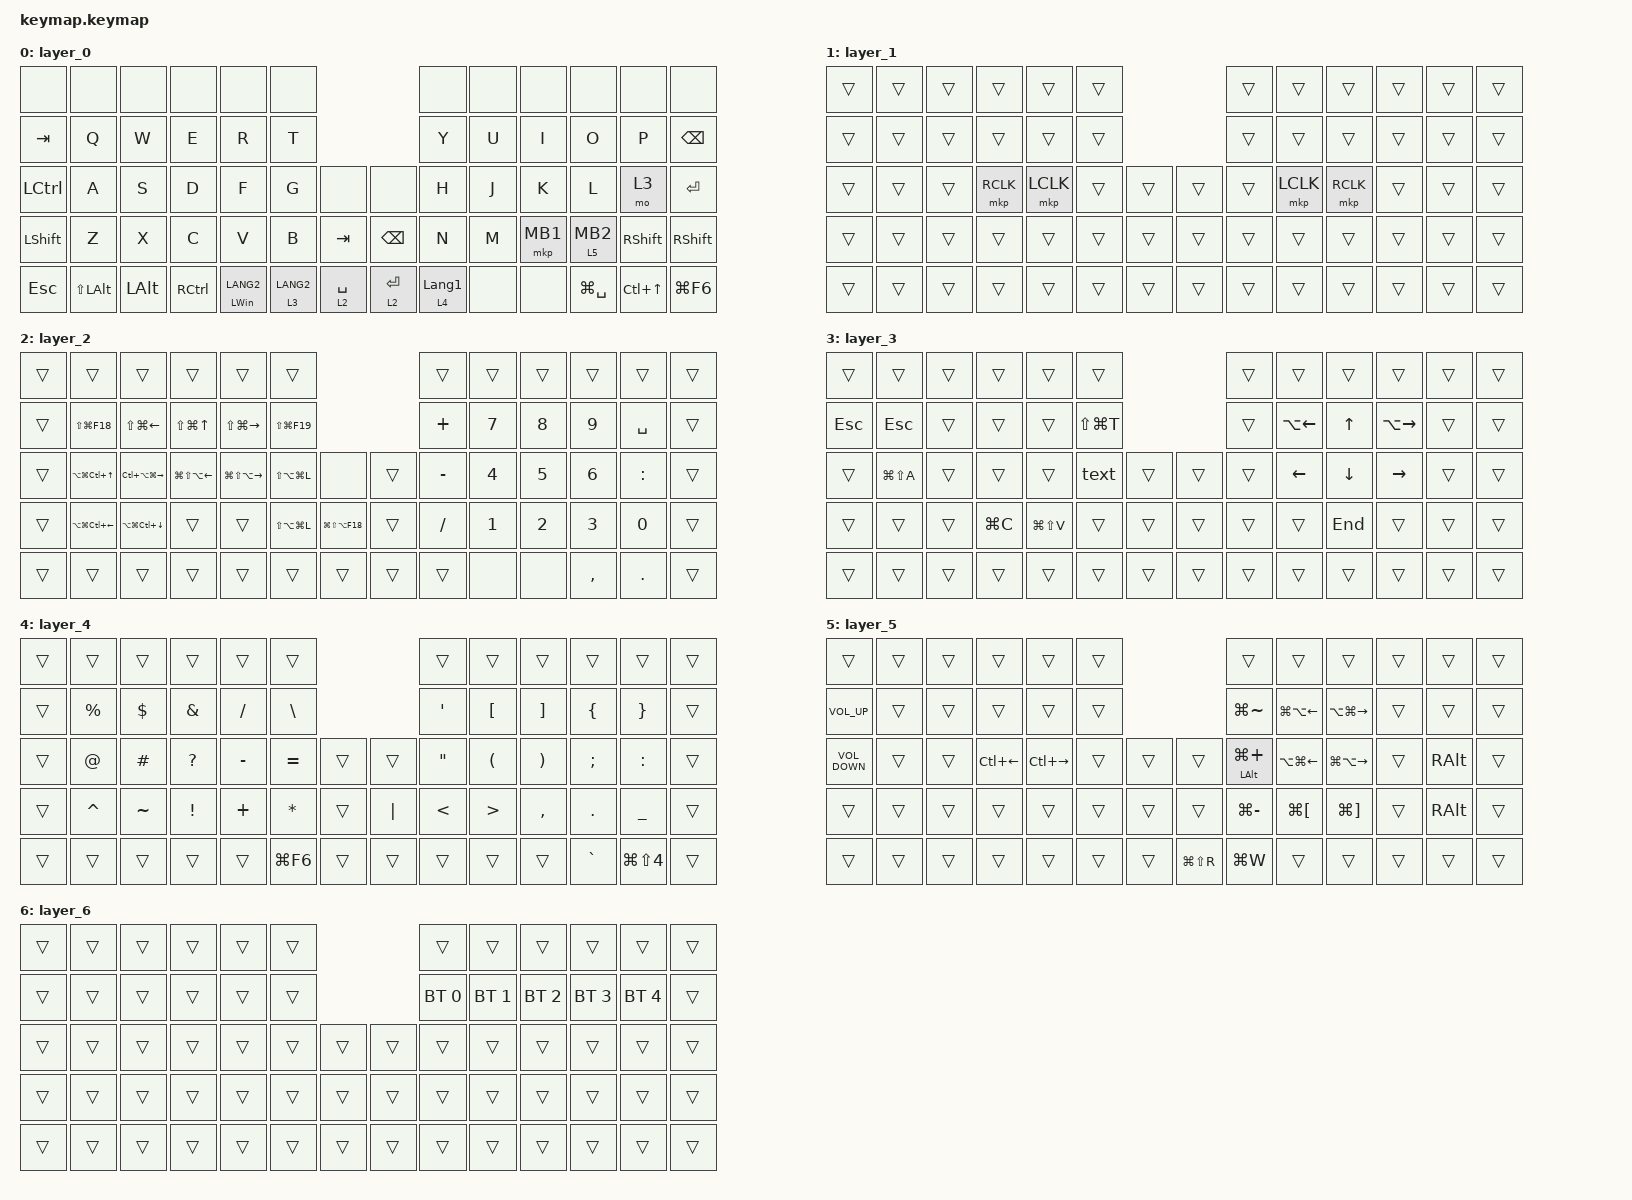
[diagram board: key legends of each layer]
#include <input/processors.dtsi>
#include <behaviors.dtsi>
#include <dt-bindings/zmk/bt.h>
#include <dt-bindings/zmk/keys.h>
#include <dt-bindings/zmk/pointing.h>

&mt {
    flavor = "tap-preferred";
    tapping-term-ms = <150>;
    quick-tap-ms = <150>;
    hold-while-undecided;
};

&lt {
    tapping-term-ms = <150>;
    quick-tap-ms = <150>;
    flavor = "tap-preferred";
    hold-while-undecided;
};

&pointing_listener {
    /* 通常時はカーソル移動のまま（必要なら速度調整も可） */
    /* input-processors = <&zip_xy_scaler 3 2>; */

    scroller {
        /* ↓ ここを「スクロールレイヤー番号」に合わせる */

        layers = <5>;
        input-processors = <
            &zip_xy_to_scroll_mapper
            &zip_scroll_transform INPUT_TRANSFORM_X_INVERT
            &zip_xy_scaler 1 512
            /* スクロール速度を上げたいなら倍率を足す例（任意） */
            &zip_scroll_scaler 1 32
        >;
    };
};

/ {
    combos {
        compatible = "zmk,combos";

        bt_clear {
            bindings = <&bt BT_CLR>;
            key-positions = <28 29>;
            layers = <2>;
        };

        layer6 {
            bindings = <&mo 6>;
            key-positions = <53 52>;
        };
    };

    behaviors {
        language_mod_tap: language_mod_tap {
            compatible = "zmk,behavior-hold-tap";
            #binding-cells = <2>;
            bindings = <&kp>, <&kp>;
            flavor = "tap-preferred";
            tapping-term-ms = <150>;
            quick-tap-ms = <150>;
            hold-while-undecided;
            retro-tap;
        };

        language_layer_tap: language_layer_tap {
            compatible = "zmk,behavior-hold-tap";
            #binding-cells = <2>;
            bindings = <&mo>, <&kp>;
            flavor = "tap-preferred";
            tapping-term-ms = <150>;
            quick-tap-ms = <150>;
            hold-while-undecided;
            retro-tap;
        };

        mouce_and_layer: mouce_and_layer {
            compatible = "zmk,behavior-hold-tap";
            label = "MOUCE_AND_LAYER";
            bindings = <&mo>, <&mkp>;

            #binding-cells = <2>;
            tapping-term-ms = <200>;
        };
    };

    macros {
        text: text {
            compatible = "zmk,behavior-macro";
            #binding-cells = <0>;
            bindings = <&kp LS(K) &kp I &kp J &kp U &kp M &kp O &kp N8 &kp N0 &kp UNDER>;
            label = "TEXT";
        };
    };

    keymap {
        compatible = "zmk,keymap";

        layer_0 {
            bindings = <
&none             &none             &none         &none              &none               &none                                    &none             &none  &none     &none                   &none             &none
&kp TAB           &kp Q             &kp W         &kp E              &kp R               &kp T                                    &kp Y             &kp U  &kp I     &kp O                   &kp P             &kp BSPC
&kp LEFT_CONTROL  &kp A             &kp S         &kp D              &kp F               &kp G        &none        &none          &kp H             &kp J  &kp K     &kp L                   &mo 3             &kp ENTER
&kp LSHFT         &kp Z             &kp X         &kp C              &kp V               &kp B        &kp TAB      &kp BACKSPACE  &kp N             &kp M  &mkp MB1  &mouce_and_layer 5 MB2  &kp RIGHT_SHIFT   &kp RSHFT
&kp ESC           &kp LS(LEFT_ALT)  &kp LEFT_ALT  &kp RIGHT_CONTROL  &language_mod_tap LEFT_WIN LANG2  &language_layer_tap 3 LANG2  &lt 2 SPACE  &lt 2 ENTER  &language_layer_tap 4 LANGUAGE_1  &none  &none  &kp LG(SPACE)  &kp LC(UP_ARROW)  &kp LG(F6)
            >;
        };

        layer_1 {
            bindings = <
&trans  &trans  &trans  &trans     &trans     &trans                  &trans  &trans     &trans     &trans  &trans  &trans
&trans  &trans  &trans  &trans     &trans     &trans                  &trans  &trans     &trans     &trans  &trans  &trans
&trans  &trans  &trans  &mkp RCLK  &mkp LCLK  &trans  &trans  &trans  &trans  &mkp LCLK  &mkp RCLK  &trans  &trans  &trans
&trans  &trans  &trans  &trans     &trans     &trans  &trans  &trans  &trans  &trans     &trans     &trans  &trans  &trans
&trans  &trans  &trans  &trans     &trans     &trans  &trans  &trans  &trans  &trans     &trans     &trans  &trans  &trans
            >;
        };

        layer_2 {
            bindings = <
&trans  &trans                    &trans                      &trans                &trans                 &trans                                          &trans     &trans        &trans        &trans        &trans      &trans
&trans  &kp LS(LG(F18))           &kp LS(LG(LEFT))            &kp LS(LG(UP_ARROW))  &kp LS(LG(RIGHT))      &kp LS(LG(F19))                                 &kp PLUS   &kp N7        &kp N8        &kp N9        &kp SPACE   &trans
&trans  &kp LA(LG(LC(UP_ARROW)))  &kp LC(LA(LG(RIGHT)))       &kp LG(LS(LA(LEFT)))  &kp LG(LS(LA(RIGHT)))  &kp LS(LA(LG(L)))  &none                &trans  &kp MINUS  &kp NUMBER_4  &kp N5        &kp NUMBER_6  &kp COLON   &trans
&trans  &kp LA(LG(LC(LEFT)))      &kp LA(LG(LC(DOWN_ARROW)))  &trans                &trans                 &kp LS(LA(LG(L)))  &kp LG(LS(LA(F18)))  &trans  &kp SLASH  &kp NUMBER_1  &kp NUMBER_2  &kp NUMBER_3  &kp N0      &trans
&trans  &trans                    &trans                      &trans                &trans                 &trans             &trans               &trans  &trans     &none         &none         &kp COMMA     &kp PERIOD  &trans
            >;
        };

        layer_3 {
            bindings = <
&trans   &trans         &trans  &trans     &trans         &trans                         &trans  &trans          &trans          &trans         &trans  &trans
&kp ESC  &kp ESCAPE     &trans  &trans     &trans         &kp LS(LG(T))                  &trans  &kp LA(LEFT)    &kp UP_ARROW    &kp LA(RIGHT)  &trans  &trans
&trans   &kp LG(LS(A))  &trans  &trans     &trans         &text          &trans  &trans  &trans  &kp LEFT_ARROW  &kp DOWN_ARROW  &kp RIGHT      &trans  &trans
&trans   &trans         &trans  &kp LG(C)  &kp LG(LS(V))  &trans         &trans  &trans  &trans  &trans          &kp END         &trans         &trans  &trans
&trans   &trans         &trans  &trans     &trans         &trans         &trans  &trans  &trans  &trans          &trans          &trans         &trans  &trans
            >;
        };

        layer_4 {
            bindings = <
&trans  &trans       &trans      &trans           &trans     &trans                           &trans             &trans                &trans                 &trans          &trans                &trans
&trans  &kp PERCENT  &kp DOLLAR  &kp AMPERSAND    &kp SLASH  &kp BACKSLASH                    &kp SQT            &kp LEFT_BRACKET      &kp RIGHT_BRACKET      &kp LEFT_BRACE  &kp RIGHT_BRACE       &trans
&trans  &kp AT_SIGN  &kp HASH    &kp QUESTION     &kp MINUS  &kp EQUAL      &trans  &trans    &kp DOUBLE_QUOTES  &kp LEFT_PARENTHESIS  &kp RIGHT_PARENTHESIS  &kp SEMICOLON   &kp COLON             &trans
&trans  &kp CARET    &kp TILDE   &kp EXCLAMATION  &kp PLUS   &kp ASTERISK   &trans  &kp PIPE  &kp LESS_THAN      &kp GREATER_THAN      &kp COMMA              &kp PERIOD      &kp UNDERSCORE        &trans
&trans  &trans       &trans      &trans           &trans     &kp LG(F6)     &trans  &trans    &trans             &trans                &trans                 &kp GRAVE       &kp LG(LS(NUMBER_4))  &trans
            >;
        };

        layer_5 {
            bindings = <
&trans             &trans  &trans  &trans        &trans         &trans                         &trans                 &trans                &trans                 &trans  &trans         &trans
&kp C_VOLUME_UP    &trans  &trans  &trans        &trans         &trans                         &kp LG(TILDE)          &kp LG(LA(LEFT))      &kp LA(LG(RIGHT))      &trans  &trans         &trans
&kp C_VOLUME_DOWN  &trans  &trans  &kp LC(LEFT)  &kp LC(RIGHT)  &trans  &trans  &trans         &mt LEFT_ALT LG(PLUS)  &kp LA(LG(LEFT))      &kp LG(LA(RIGHT))      &trans  &kp RIGHT_ALT  &trans
&trans             &trans  &trans  &trans        &trans         &trans  &trans  &trans         &kp LG(MINUS)          &kp LG(LEFT_BRACKET)  &kp LG(RIGHT_BRACKET)  &trans  &kp RIGHT_ALT  &trans
&trans             &trans  &trans  &trans        &trans         &trans  &trans  &kp LG(LS(R))  &kp LG(W)              &trans                &trans                 &trans  &trans         &trans
            >;
        };

        layer_6 {
            bindings = <
&trans  &trans  &trans  &trans  &trans  &trans                  &trans        &trans        &trans        &trans        &trans        &trans
&trans  &trans  &trans  &trans  &trans  &trans                  &bt BT_SEL 0  &bt BT_SEL 1  &bt BT_SEL 2  &bt BT_SEL 3  &bt BT_SEL 4  &trans
&trans  &trans  &trans  &trans  &trans  &trans  &trans  &trans  &trans        &trans        &trans        &trans        &trans        &trans
&trans  &trans  &trans  &trans  &trans  &trans  &trans  &trans  &trans        &trans        &trans        &trans        &trans        &trans
&trans  &trans  &trans  &trans  &trans  &trans  &trans  &trans  &trans        &trans        &trans        &trans        &trans        &trans
            >;
        };
    };
};
